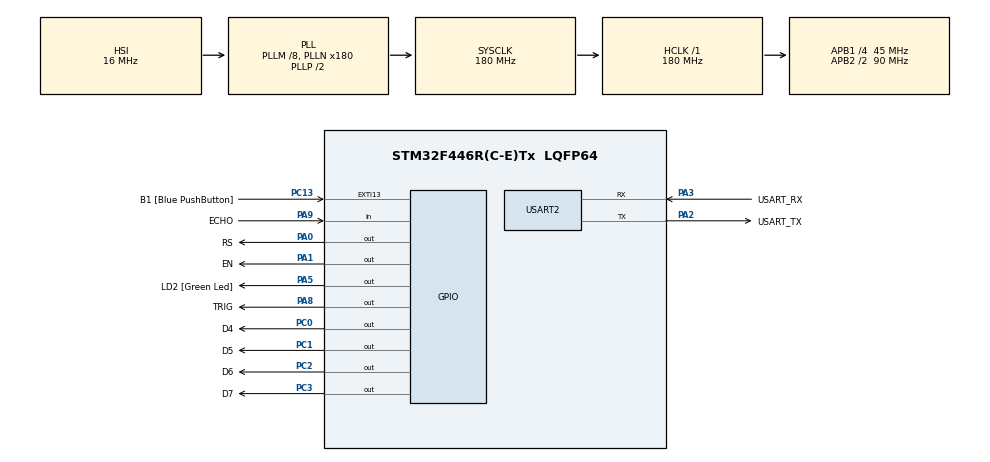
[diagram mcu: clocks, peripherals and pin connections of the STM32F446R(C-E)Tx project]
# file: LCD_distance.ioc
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Mcu.Family=STM32F4
Mcu.Name=STM32F446R(C-E)Tx
Mcu.Package=LQFP64
NVIC.PriorityGroup=NVIC_PRIORITYGROUP_0
PA0-WKUP.GPIO_Label=RS
PA0-WKUP.Signal=GPIO_Output
PA1.GPIO_Label=EN
PA1.Signal=GPIO_Output
PA13.GPIO_Label=TMS
PA13.Mode=Serial_Wire
PA13.Signal=SYS_JTMS-SWDIO
PA14.GPIO_Label=TCK
PA14.Mode=Serial_Wire
PA14.Signal=SYS_JTCK-SWCLK
PA2.GPIO_Label=USART_TX
PA2.Mode=Asynchronous
PA2.Signal=USART2_TX
PA3.GPIO_Label=USART_RX
PA3.Mode=Asynchronous
PA3.Signal=USART2_RX
PA5.GPIO_Label=LD2 [Green Led]
PA5.Signal=GPIO_Output
PA8.GPIO_Label=TRIG
PA8.Signal=GPIO_Output
PA9.GPIO_Label=ECHO
PA9.Signal=GPIO_Input
PB3.GPIO_Label=SWO
PB3.Signal=SYS_JTDO-SWO
PC0.GPIO_Label=D4
PC0.Signal=GPIO_Output
PC1.GPIO_Label=D5
PC1.Signal=GPIO_Output
PC13.GPIO_Label=B1 [Blue PushButton]
PC13.GPIO_ModeDefaultEXTI=GPIO_MODE_IT_FALLING
PC13.Signal=GPXTI13
PC14-OSC32_IN.Mode=LSE-External-Oscillator
PC14-OSC32_IN.Signal=RCC_OSC32_IN
PC15-OSC32_OUT.Mode=LSE-External-Oscillator
PC15-OSC32_OUT.Signal=RCC_OSC32_OUT
PC2.GPIO_Label=D6
PC2.Signal=GPIO_Output
PC3.GPIO_Label=D7
PC3.Signal=GPIO_Output
PH0-OSC_IN.Mode=HSE-External-Oscillator
PH0-OSC_IN.Signal=RCC_OSC_IN
PH1-OSC_OUT.Mode=HSE-External-Oscillator
PH1-OSC_OUT.Signal=RCC_OSC_OUT
ProjectManager.HeapSize=0x200
ProjectManager.StackSize=0x400
ProjectManager.TargetToolchain=STM32CubeIDE
RCC.48MHZClocksFreq_Value=84000000
RCC.AHBFreq_Value=180000000
RCC.APB1CLKDivider=RCC_HCLK_DIV4
RCC.APB1Freq_Value=45000000
RCC.APB1TimFreq_Value=90000000
RCC.APB2CLKDivider=RCC_HCLK_DIV2
RCC.APB2Freq_Value=90000000
RCC.APB2TimFreq_Value=180000000
RCC.CortexFreq_Value=180000000
RCC.FLatency-AdvancedSettings=FLASH_LATENCY_5
RCC.HCLKFreq_Value=180000000
RCC.HSE_VALUE=8000000
RCC.HSI_VALUE=16000000
RCC.PLLM=8
RCC.PLLN=180
RCC.SYSCLKFreq_VALUE=180000000
RCC.SYSCLKSource=RCC_SYSCLKSOURCE_PLLCLK
RCC.USBFreq_Value=180000000
RCC.VCOOutputFreq_Value=360000000
TIM4.Period=0
TIM4.Prescaler=180-1
USART2.VirtualMode=VM_ASYNC
VP_TIM4_VS_ClockSourceINT.Mode=Internal
board=NUCLEO-F446RE

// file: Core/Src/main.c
/* USER CODE BEGIN Header */
/**
  ******************************************************************************
  * @file           : main.c
  * @brief          : Main program body
  ******************************************************************************
  * @attention
  *
  * <h2><center>&copy; Copyright (c) 2021 STMicroelectronics.
  * All rights reserved.</center></h2>
  *
  * This software component is licensed by ST under BSD 3-Clause license,
  * the "License"; You may not use this file except in compliance with the
  * License. You may obtain a copy of the License at:
  *                        opensource.org/licenses/BSD-3-Clause
  *
  ******************************************************************************
  */
/* USER CODE END Header */
#include "main.h"

/* USER CODE BEGIN Includes */
#include "LCD.h"
#include <string.h>
#include <stdio.h>
/* USER CODE END Includes */

/* USER CODE BEGIN PTD */
#define usTIM	TIM4
/* USER CODE END PTD */

TIM_HandleTypeDef htim4;

UART_HandleTypeDef huart2;

void SystemClock_Config(void);
static void MX_GPIO_Init(void);
static void MX_USART2_UART_Init(void);
static void MX_TIM4_Init(void);

/* USER CODE BEGIN 0 */
const float speedOfSound = 0.0343/2;
float distance;

char uartBuf[100];
/* USER CODE END 0 */

int main(void)
{
  /* USER CODE BEGIN 1 */
	//uint32_t numTicks = 0;
	uint16_t numTicks = 0;
  /* USER CODE END 1 */

  /* MCU Configuration--------------------------------------------------------*/

  /* Reset of all peripherals, Initializes the Flash interface and the Systick. */
  HAL_Init();

  /* Configure the system clock */
  SystemClock_Config();

  /* Initialize all configured peripherals */
  MX_GPIO_Init();
  MX_USART2_UART_Init();
  MX_TIM4_Init();
  /* USER CODE BEGIN 2 */
  LCD_init();
  /* USER CODE END 2 */

  /* Infinite loop */
  /* USER CODE BEGIN WHILE */

    //LCD_write_number(2400);

    while (1)
    {
    /* USER CODE END WHILE */

    /* USER CODE BEGIN 3 */
  		//Set TRIG to LOW for few uSec
    	HAL_GPIO_WritePin(TRIG_GPIO_Port, TRIG_Pin, GPIO_PIN_RESET);
    	//myDelay(2);

    			//*** START Ultrasonic measure routine ***//
    			//1. Output 10 usec TRIG
    			HAL_GPIO_WritePin(TRIG_GPIO_Port, TRIG_Pin, GPIO_PIN_SET);
    			myDelay(2);
    			HAL_GPIO_WritePin(TRIG_GPIO_Port, TRIG_Pin, GPIO_PIN_RESET);

    			//2. Wait for ECHO pin rising edge
    			while(HAL_GPIO_ReadPin(ECHO_GPIO_Port, ECHO_Pin) == GPIO_PIN_RESET);

    			//3. Start measuring ECHO pulse width in usec
    			numTicks = 0;
    			while(HAL_GPIO_ReadPin(ECHO_GPIO_Port, ECHO_Pin) == GPIO_PIN_SET)
    			{
    				numTicks++;
    				myDelay(1); //2.8usec
    			};

    			//4. Estimate distance in cm
    			distance = (numTicks + 0.0f)*4.4*speedOfSound;

  		//5. Print to UART terminal for debugging

  		//sprintf(uartBuf, "Distance (cm)  = %.1f\r\n", distance);
  		//HAL_UART_Transmit(&huart2, (uint8_t *)uartBuf, strlen(uartBuf), 100);
  	    LCD_init();
  		LCD_write_text("Dystans");
  		LCD_cmd(LCD_LINEA2);
  		LCD_write_number(distance);
  		HAL_Delay(1000);

  /* USER CODE END 3 */
}
}

void SystemClock_Config(void)
{
  RCC_OscInitTypeDef RCC_OscInitStruct = {0};
  RCC_ClkInitTypeDef RCC_ClkInitStruct = {0};

  /** Configure the main internal regulator output voltage
  */
  __HAL_RCC_PWR_CLK_ENABLE();
  __HAL_PWR_VOLTAGESCALING_CONFIG(PWR_REGULATOR_VOLTAGE_SCALE1);
  /** Initializes the RCC Oscillators according to the specified parameters
  * in the RCC_OscInitTypeDef structure.
  */
  RCC_OscInitStruct.OscillatorType = RCC_OSCILLATORTYPE_HSI;
  RCC_OscInitStruct.HSIState = RCC_HSI_ON;
  RCC_OscInitStruct.HSICalibrationValue = RCC_HSICALIBRATION_DEFAULT;
  RCC_OscInitStruct.PLL.PLLState = RCC_PLL_ON;
  RCC_OscInitStruct.PLL.PLLSource = RCC_PLLSOURCE_HSI;
  RCC_OscInitStruct.PLL.PLLM = 8;
  RCC_OscInitStruct.PLL.PLLN = 180;
  RCC_OscInitStruct.PLL.PLLP = RCC_PLLP_DIV2;
  RCC_OscInitStruct.PLL.PLLQ = 2;
  RCC_OscInitStruct.PLL.PLLR = 2;
  if (HAL_RCC_OscConfig(&RCC_OscInitStruct) != HAL_OK)
  {
    Error_Handler();
  }
  /** Activate the Over-Drive mode
  */
  if (HAL_PWREx_EnableOverDrive() != HAL_OK)
  {
    Error_Handler();
  }
  /** Initializes the CPU, AHB and APB buses clocks
  */
  RCC_ClkInitStruct.ClockType = RCC_CLOCKTYPE_HCLK|RCC_CLOCKTYPE_SYSCLK
                              |RCC_CLOCKTYPE_PCLK1|RCC_CLOCKTYPE_PCLK2;
  RCC_ClkInitStruct.SYSCLKSource = RCC_SYSCLKSOURCE_PLLCLK;
  RCC_ClkInitStruct.AHBCLKDivider = RCC_SYSCLK_DIV1;
  RCC_ClkInitStruct.APB1CLKDivider = RCC_HCLK_DIV4;
  RCC_ClkInitStruct.APB2CLKDivider = RCC_HCLK_DIV2;

  if (HAL_RCC_ClockConfig(&RCC_ClkInitStruct, FLASH_LATENCY_5) != HAL_OK)
  {
    Error_Handler();
  }
}

static void MX_TIM4_Init(void)
{

  TIM_ClockConfigTypeDef sClockSourceConfig = {0};
  TIM_MasterConfigTypeDef sMasterConfig = {0};

  htim4.Instance = TIM4;
  htim4.Init.Prescaler = 180-1;
  htim4.Init.CounterMode = TIM_COUNTERMODE_UP;
  htim4.Init.Period = 0;
  htim4.Init.ClockDivision = TIM_CLOCKDIVISION_DIV1;
  htim4.Init.AutoReloadPreload = TIM_AUTORELOAD_PRELOAD_DISABLE;
  if (HAL_TIM_Base_Init(&htim4) != HAL_OK)
  {
    Error_Handler();
  }
  sClockSourceConfig.ClockSource = TIM_CLOCKSOURCE_INTERNAL;
  if (HAL_TIM_ConfigClockSource(&htim4, &sClockSourceConfig) != HAL_OK)
  {
    Error_Handler();
  }
  sMasterConfig.MasterOutputTrigger = TIM_TRGO_RESET;
  sMasterConfig.MasterSlaveMode = TIM_MASTERSLAVEMODE_DISABLE;
  if (HAL_TIMEx_MasterConfigSynchronization(&htim4, &sMasterConfig) != HAL_OK)
  {
    Error_Handler();
  }

}

static void MX_USART2_UART_Init(void)
{

  huart2.Instance = USART2;
  huart2.Init.BaudRate = 115200;
  huart2.Init.WordLength = UART_WORDLENGTH_8B;
  huart2.Init.StopBits = UART_STOPBITS_1;
  huart2.Init.Parity = UART_PARITY_NONE;
  huart2.Init.Mode = UART_MODE_TX_RX;
  huart2.Init.HwFlowCtl = UART_HWCONTROL_NONE;
  huart2.Init.OverSampling = UART_OVERSAMPLING_16;
  if (HAL_UART_Init(&huart2) != HAL_OK)
  {
    Error_Handler();
  }

}

static void MX_GPIO_Init(void)
{
  GPIO_InitTypeDef GPIO_InitStruct = {0};

  /* GPIO Ports Clock Enable */
  __HAL_RCC_GPIOC_CLK_ENABLE();
  __HAL_RCC_GPIOH_CLK_ENABLE();
  __HAL_RCC_GPIOA_CLK_ENABLE();
  __HAL_RCC_GPIOB_CLK_ENABLE();

  /*Configure GPIO pin Output Level */
  HAL_GPIO_WritePin(GPIOC, D4_Pin|D5_Pin|D6_Pin|D7_Pin, GPIO_PIN_RESET);

  /*Configure GPIO pin Output Level */
  HAL_GPIO_WritePin(GPIOA, RS_Pin|EN_Pin|LD2_Pin|TRIG_Pin, GPIO_PIN_RESET);

  /*Configure GPIO pin : B1_Pin */
  GPIO_InitStruct.Pin = B1_Pin;
  GPIO_InitStruct.Mode = GPIO_MODE_IT_FALLING;
  GPIO_InitStruct.Pull = GPIO_NOPULL;
  HAL_GPIO_Init(B1_GPIO_Port, &GPIO_InitStruct);

  /*Configure GPIO pins : D4_Pin D5_Pin D6_Pin D7_Pin */
  GPIO_InitStruct.Pin = D4_Pin|D5_Pin|D6_Pin|D7_Pin;
  GPIO_InitStruct.Mode = GPIO_MODE_OUTPUT_PP;
  GPIO_InitStruct.Pull = GPIO_NOPULL;
  GPIO_InitStruct.Speed = GPIO_SPEED_FREQ_LOW;
  HAL_GPIO_Init(GPIOC, &GPIO_InitStruct);

  /*Configure GPIO pins : RS_Pin EN_Pin LD2_Pin TRIG_Pin */
  GPIO_InitStruct.Pin = RS_Pin|EN_Pin|LD2_Pin|TRIG_Pin;
  GPIO_InitStruct.Mode = GPIO_MODE_OUTPUT_PP;
  GPIO_InitStruct.Pull = GPIO_NOPULL;
  GPIO_InitStruct.Speed = GPIO_SPEED_FREQ_LOW;
  HAL_GPIO_Init(GPIOA, &GPIO_InitStruct);

  /*Configure GPIO pin : ECHO_Pin */
  GPIO_InitStruct.Pin = ECHO_Pin;
  GPIO_InitStruct.Mode = GPIO_MODE_INPUT;
  GPIO_InitStruct.Pull = GPIO_NOPULL;
  HAL_GPIO_Init(ECHO_GPIO_Port, &GPIO_InitStruct);

}

/* USER CODE BEGIN 4 */
void myDelay(uint32_t uSec)
{
	if(uSec < 2) uSec = 2;
	usTIM->ARR = uSec - 1;
	usTIM->EGR = 1;
	usTIM->SR &= ~1; 		//Resets the flag
	usTIM->CR1 |= 1; 		//Enables the counter
	while((usTIM->SR&0x0001) != 1);
	usTIM->SR &= ~(0x0001);
}

/* USER CODE END 4 */

void Error_Handler(void)
{
  __disable_irq();
  while (1)
  {
  }
}

/************************ (C) COPYRIGHT STMicroelectronics *****END OF FILE****/
